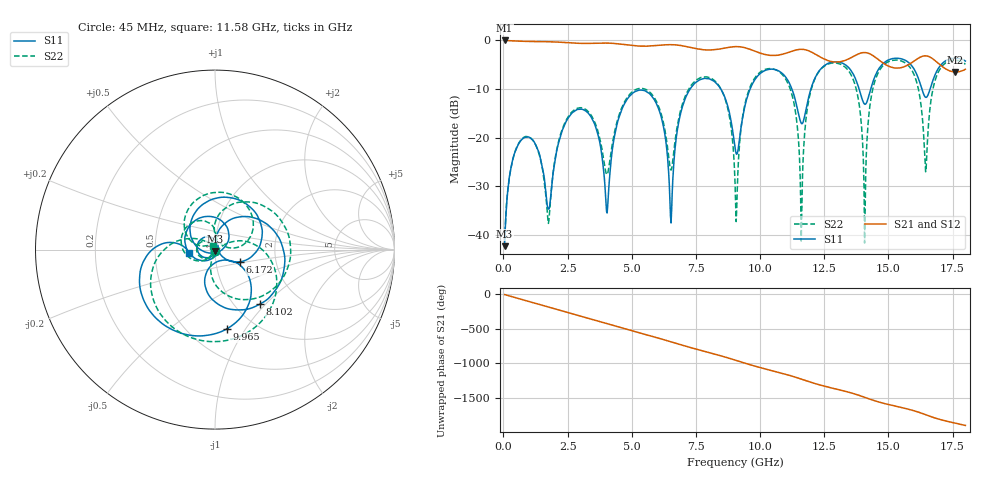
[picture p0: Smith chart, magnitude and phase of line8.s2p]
!Agilent Technologies,E8364A,US41440284,A.06.04.32
!Agilent E8364A: A.06.04.32
!Date: Friday, December 06, 2019 10:06:03
!Correction: S11(Full 2 Port(1,2)) S21(Full 2 Port(1,2)) S12(Full 2 Port(1,2)) S22(Full 2 Port(1,2))
!S2P File: Measurements: S11, S21, S12, S22:
# Hz S  MA  R 50
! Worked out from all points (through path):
!   801 points, 45 MHz to 18 GHz, reference 50 ohm
!   highest |S21| = 0.00 dB at 45 MHz (marker M1); lowest = -6.5 dB at 17.6 GHz (marker M2)
!   group delay of S21, straight-line fit = 294 ps
!   lowest |S11| = -42.4 dB at 45 MHz (marker M3), VSWR 1.02, Z = 49.9 - j0.751 ohm
!   |S11| at or under -10 dB: start of sweep to 7.273 GHz; 8.47 GHz to 9.61 GHz (1.14 GHz wide, 12.6 % of centre); 11.24 GHz to 11.98 GHz (742.1 MHz wide, 6.39 % of centre)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
!   |S22| runs from -41.7 to -4.0 dB; largest |S21 - S12| = 0.0013
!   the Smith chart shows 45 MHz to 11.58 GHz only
!   S11 on the Smith chart (normalised r, x): 45 MHz: 1.00, -0.02; 6.172 GHz: 1.31, -0.18; 8.102 GHz: 1.29, -0.93; 9.965 GHz: 0.75, -0.83; 11.58 GHz: 0.75, -0.03
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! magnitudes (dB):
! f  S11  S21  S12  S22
! 45 MHz  -42.4  0.0  0.0  -41.2
! 628.5 MHz  -21.0  -0.1  -0.2  -20.9
! 1.751 GHz  -34.7  -0.3  -0.3  -37.7
! 3.052 GHz  -14.2  -0.6  -0.6  -13.9
! 4.04 GHz  -35.5  -0.5  -0.5  -27.6
! 4.758 GHz  -12.7  -0.9  -0.9  -12.3
! 6.037 GHz  -14.0  -1.0  -1.0  -13.5
! 6.172 GHz  -16.3  -0.9  -1.0  -15.6
! 6.531 GHz  -37.6  -0.9  -0.9  -26.7
! 7.047 GHz  -12.5  -1.2  -1.2  -12.0
! 8.102 GHz  -8.1  -1.9  -2.0  -7.8
! 9.023 GHz  -21.9  -1.3  -1.3  -29.2
! 9.965 GHz  -7.0  -2.5  -2.5  -6.7
! 11.13 GHz  -8.7  -2.4  -2.4  -9.4
! 11.58 GHz  -16.8  -1.8  -1.8  -32.6
! 12.03 GHz  -9.2  -2.5  -2.5  -9.4
! 13.49 GHz  -5.8  -3.7  -3.7  -6.6
! 14.07 GHz  -13.1  -2.5  -2.5  -41.7
! 15.01 GHz  -4.0  -5.3  -5.3  -4.4
! 16.45 GHz  -11.7  -3.2  -3.2  -27.1
! 17.6 GHz  -3.6  -6.5  -6.5  -4.1
! 18 GHz  -4.2  -5.9  -5.9  -4.9
